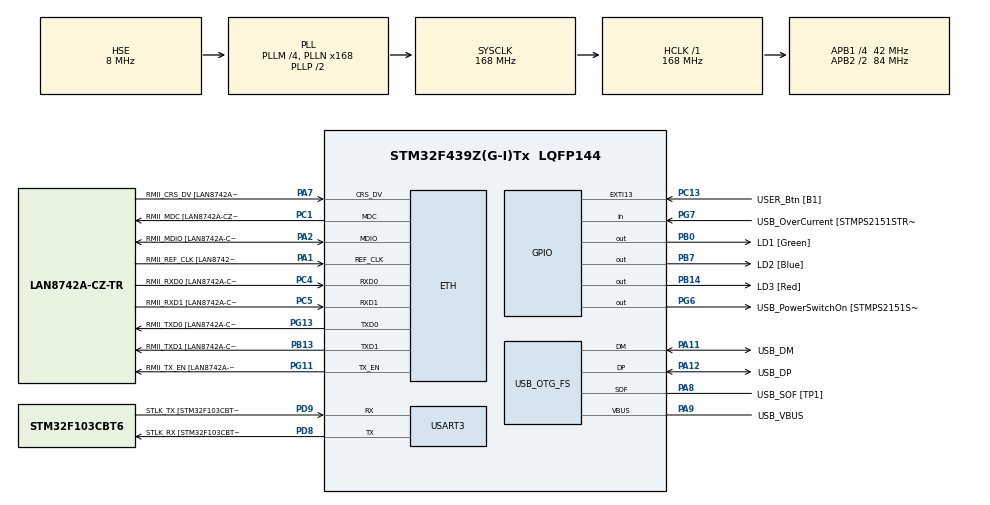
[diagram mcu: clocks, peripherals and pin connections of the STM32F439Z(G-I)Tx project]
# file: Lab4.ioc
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ETH.MediaInterface=HAL_ETH_RMII_MODE
ETH.PHY_Name=LAN8742A_PHY_ADDRESS
ETH.PHY_Value=0
ETH.PhyAddress=0
ETH.RxBuffLen=1536
ETH.RxMode=ETH_RXINTERRUPT_MODE
FREERTOS.Tasks01=defaultTask,24,512,StartDefaultTask,Default,NULL,Dynamic,NULL,NULL
FREERTOS.configGENERATE_RUN_TIME_STATS=1
FREERTOS.configRECORD_STACK_HIGH_ADDRESS=1
FREERTOS.configUSE_NEWLIB_REENTRANT=1
Mcu.Family=STM32F4
Mcu.Name=STM32F439Z(G-I)Tx
Mcu.Package=LQFP144
NVIC.ETH_IRQn=true\:5\:0\:false\:false\:false\:true\:false\:true\:true
NVIC.PriorityGroup=NVIC_PRIORITYGROUP_4
NVIC.TIM6_DAC_IRQn=true\:15\:0\:false\:false\:true\:false\:false\:true\:true
NVIC.TimeBase=TIM6_DAC_IRQn
NVIC.TimeBaseIP=TIM6
PA1.GPIO_Label=RMII_REF_CLK [LAN8742A-CZ-TR_REFCLK0]
PA1.Mode=RMII
PA1.Signal=ETH_REF_CLK
PA10.GPIO_Label=USB_ID
PA10.Signal=USB_OTG_FS_ID
PA11.GPIO_Label=USB_DM
PA11.Mode=Device_Only
PA11.Signal=USB_OTG_FS_DM
PA12.GPIO_Label=USB_DP
PA12.Mode=Device_Only
PA12.Signal=USB_OTG_FS_DP
PA13.GPIO_Label=TMS
PA13.Mode=Serial_Wire
PA13.Signal=SYS_JTMS-SWDIO
PA14.GPIO_Label=TCK
PA14.Mode=Serial_Wire
PA14.Signal=SYS_JTCK-SWCLK
PA2.GPIO_Label=RMII_MDIO [LAN8742A-CZ-TR_MDIO]
PA2.Mode=RMII
PA2.Signal=ETH_MDIO
PA7.GPIO_Label=RMII_CRS_DV [LAN8742A-CZ-TR_CRS_DV]
PA7.Mode=RMII
PA7.Signal=ETH_CRS_DV
PA8.GPIO_Label=USB_SOF [TP1]
PA8.Mode=Activate_SOF_FS
PA8.Signal=USB_OTG_FS_SOF
PA9.GPIO_Label=USB_VBUS
PA9.Mode=Activate_VBUS
PA9.Signal=USB_OTG_FS_VBUS
PB0.GPIO_Label=LD1 [Green]
PB0.Signal=GPIO_Output
PB13.GPIO_Label=RMII_TXD1 [LAN8742A-CZ-TR_TXD1]
PB13.Mode=RMII
PB13.Signal=ETH_TXD1
PB14.GPIO_Label=LD3 [Red]
PB14.Signal=GPIO_Output
PB7.GPIO_Label=LD2 [Blue]
PB7.Signal=GPIO_Output
PC1.GPIO_Label=RMII_MDC [LAN8742A-CZ-TR_MDC]
PC1.Mode=RMII
PC1.Signal=ETH_MDC
PC13.GPIO_Label=USER_Btn [B1]
PC13.Signal=GPXTI13
PC14/OSC32_IN.Mode=LSE-External-Oscillator
PC14/OSC32_IN.Signal=RCC_OSC32_IN
PC15/OSC32_OUT.Mode=LSE-External-Oscillator
PC15/OSC32_OUT.Signal=RCC_OSC32_OUT
PC4.GPIO_Label=RMII_RXD0 [LAN8742A-CZ-TR_RXD0]
PC4.Mode=RMII
PC4.Signal=ETH_RXD0
PC5.GPIO_Label=RMII_RXD1 [LAN8742A-CZ-TR_RXD1]
PC5.Mode=RMII
PC5.Signal=ETH_RXD1
PD8.GPIO_Label=STLK_RX [STM32F103CBT6_PA3]
PD8.Mode=Asynchronous
PD8.Signal=USART3_TX
PD9.GPIO_Label=STLK_TX [STM32F103CBT6_PA2]
PD9.Mode=Asynchronous
PD9.Signal=USART3_RX
PG11.GPIO_Label=RMII_TX_EN [LAN8742A-CZ-TR_TXEN]
PG11.Mode=RMII
PG11.Signal=ETH_TX_EN
PG13.GPIO_Label=RMII_TXD0 [LAN8742A-CZ-TR_TXD0]
PG13.Mode=RMII
PG13.Signal=ETH_TXD0
PG6.GPIO_Label=USB_PowerSwitchOn [STMPS2151STR_EN]
PG6.Signal=GPIO_Output
PG7.GPIO_Label=USB_OverCurrent [STMPS2151STR_FAULT]
PG7.Signal=GPIO_Input
PH0/OSC_IN.GPIO_Label=MCO [STM32F103CBT6_PA8]
PH0/OSC_IN.Mode=HSE-External-Clock-Source
PH0/OSC_IN.Signal=RCC_OSC_IN
PH1/OSC_OUT.Mode=HSE-External-Clock-Source
PH1/OSC_OUT.Signal=RCC_OSC_OUT
ProjectManager.HeapSize=0x200
ProjectManager.StackSize=0x400
ProjectManager.TargetToolchain=STM32CubeIDE
RCC.48MHZClocksFreq_Value=48000000
RCC.AHBFreq_Value=168000000
RCC.APB1CLKDivider=RCC_HCLK_DIV4
RCC.APB1Freq_Value=42000000
RCC.APB1TimFreq_Value=84000000
RCC.APB2CLKDivider=RCC_HCLK_DIV2
RCC.APB2Freq_Value=84000000
RCC.APB2TimCLKDivider=2
RCC.APB2TimFreq_Value=168000000
RCC.CortexFreq_Value=168000000
RCC.HCLKFreq_Value=168000000
RCC.HSE_VALUE=8000000
RCC.HSI_VALUE=16000000
RCC.PLLM=4
RCC.PLLMUL=RCC_PLL_MUL9
RCC.PLLN=168
RCC.PLLQ=7
RCC.PRESCALERUSB=RCC_USBCLKSOURCE_PLL_DIV1_5
RCC.SYSCLKFreq_VALUE=168000000
RCC.SYSCLKSource=RCC_SYSCLKSOURCE_PLLCLK
RCC.SYSCLKSourceVirtual=RCC_SYSCLKSOURCE_PLLCLK
RCC.USBFreq_Value=48000000
RCC.VCOOutputFreq_Value=336000000
USART3.VirtualMode=VM_ASYNC
USB_OTG_FS.VirtualMode=Device_Only
VP_FREERTOS_VS_CMSIS_V2.Mode=CMSIS_V2
VP_SYS_VS_tim6.Mode=TIM6
board=NUCLEO-F439ZI

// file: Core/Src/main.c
/* USER CODE BEGIN Header */
/**
  ******************************************************************************
  * @file           : main.c
  * @brief          : Main program body
  ******************************************************************************
  * @attention
  *
  * Copyright (c) 2025 STMicroelectronics.
  * All rights reserved.
  *
  * This software is licensed under terms that can be found in the LICENSE file
  * in the root directory of this software component.
  * If no LICENSE file comes with this software, it is provided AS-IS.
  *
  ******************************************************************************
  */
/* USER CODE END Header */
#include "main.h"
#include "string.h"
#include "mongoose.h"
#include "cmsis_os.h"

ETH_TxPacketConfig TxConfig;
ETH_DMADescTypeDef  DMARxDscrTab[ETH_RX_DESC_CNT]; /* Ethernet Rx DMA Descriptors */
ETH_DMADescTypeDef  DMATxDscrTab[ETH_TX_DESC_CNT]; /* Ethernet Tx DMA Descriptors */

ETH_HandleTypeDef heth;

UART_HandleTypeDef huart3;

PCD_HandleTypeDef hpcd_USB_OTG_FS;

/* Definitions for defaultTask */
osThreadId_t defaultTaskHandle;
const osThreadAttr_t defaultTask_attributes = {
  .name = "defaultTask",
  .stack_size = 512 * 4,
  .priority = (osPriority_t) osPriorityNormal,
};

void SystemClock_Config(void);
static void MX_GPIO_Init(void);
static void MX_ETH_Init(void);
static void MX_USART3_UART_Init(void);
static void MX_USB_OTG_FS_PCD_Init(void);
void StartDefaultTask(void *argument);

int main(void)
{

  /* MCU Configuration--------------------------------------------------------*/

  /* Reset of all peripherals, Initializes the Flash interface and the Systick. */
  HAL_Init();

  /* Configure the system clock */
  SystemClock_Config();

  /* Initialize all configured peripherals */
  MX_GPIO_Init();
  MX_ETH_Init();
  MX_USART3_UART_Init();
  MX_USB_OTG_FS_PCD_Init();

  /* Init scheduler */
  osKernelInitialize();

  /* Create the thread(s) */
  /* creation of defaultTask */
  defaultTaskHandle = osThreadNew(StartDefaultTask, NULL, &defaultTask_attributes);

  /* Start scheduler */
  osKernelStart();

  /* We should never get here as control is now taken by the scheduler */

  /* Infinite loop */
  while (1)
  {

  }
}

void SystemClock_Config(void)
{
  RCC_OscInitTypeDef RCC_OscInitStruct = {0};
  RCC_ClkInitTypeDef RCC_ClkInitStruct = {0};

  /** Configure the main internal regulator output voltage
  */
  __HAL_RCC_PWR_CLK_ENABLE();
  __HAL_PWR_VOLTAGESCALING_CONFIG(PWR_REGULATOR_VOLTAGE_SCALE1);

  /** Initializes the RCC Oscillators according to the specified parameters
  * in the RCC_OscInitTypeDef structure.
  */
  RCC_OscInitStruct.OscillatorType = RCC_OSCILLATORTYPE_HSE;
  RCC_OscInitStruct.HSEState = RCC_HSE_BYPASS;
  RCC_OscInitStruct.PLL.PLLState = RCC_PLL_ON;
  RCC_OscInitStruct.PLL.PLLSource = RCC_PLLSOURCE_HSE;
  RCC_OscInitStruct.PLL.PLLM = 4;
  RCC_OscInitStruct.PLL.PLLN = 168;
  RCC_OscInitStruct.PLL.PLLP = RCC_PLLP_DIV2;
  RCC_OscInitStruct.PLL.PLLQ = 7;
  if (HAL_RCC_OscConfig(&RCC_OscInitStruct) != HAL_OK)
  {
    Error_Handler();
  }

  /** Initializes the CPU, AHB and APB buses clocks
  */
  RCC_ClkInitStruct.ClockType = RCC_CLOCKTYPE_HCLK|RCC_CLOCKTYPE_SYSCLK
                              |RCC_CLOCKTYPE_PCLK1|RCC_CLOCKTYPE_PCLK2;
  RCC_ClkInitStruct.SYSCLKSource = RCC_SYSCLKSOURCE_PLLCLK;
  RCC_ClkInitStruct.AHBCLKDivider = RCC_SYSCLK_DIV1;
  RCC_ClkInitStruct.APB1CLKDivider = RCC_HCLK_DIV4;
  RCC_ClkInitStruct.APB2CLKDivider = RCC_HCLK_DIV2;

  if (HAL_RCC_ClockConfig(&RCC_ClkInitStruct, FLASH_LATENCY_5) != HAL_OK)
  {
    Error_Handler();
  }
}

static void MX_ETH_Init(void)
{

   static uint8_t MACAddr[6];

  heth.Instance = ETH;
  MACAddr[0] = 0x00;
  MACAddr[1] = 0x80;
  MACAddr[2] = 0xE1;
  MACAddr[3] = 0x00;
  MACAddr[4] = 0x00;
  MACAddr[5] = 0x00;
  heth.Init.MACAddr = &MACAddr[0];
  heth.Init.MediaInterface = HAL_ETH_RMII_MODE;
  heth.Init.TxDesc = DMATxDscrTab;
  heth.Init.RxDesc = DMARxDscrTab;
  heth.Init.RxBuffLen = 1536;

  if (HAL_ETH_Init(&heth) != HAL_OK)
  {
    Error_Handler();
  }

  memset(&TxConfig, 0 , sizeof(ETH_TxPacketConfig));
  TxConfig.Attributes = ETH_TX_PACKETS_FEATURES_CSUM | ETH_TX_PACKETS_FEATURES_CRCPAD;
  TxConfig.ChecksumCtrl = ETH_CHECKSUM_IPHDR_PAYLOAD_INSERT_PHDR_CALC;
  TxConfig.CRCPadCtrl = ETH_CRC_PAD_INSERT;

}

static void MX_USART3_UART_Init(void)
{

  huart3.Instance = USART3;
  huart3.Init.BaudRate = 115200;
  huart3.Init.WordLength = UART_WORDLENGTH_8B;
  huart3.Init.StopBits = UART_STOPBITS_1;
  huart3.Init.Parity = UART_PARITY_NONE;
  huart3.Init.Mode = UART_MODE_TX_RX;
  huart3.Init.HwFlowCtl = UART_HWCONTROL_NONE;
  huart3.Init.OverSampling = UART_OVERSAMPLING_16;
  if (HAL_UART_Init(&huart3) != HAL_OK)
  {
    Error_Handler();
  }

}

static void MX_USB_OTG_FS_PCD_Init(void)
{

  hpcd_USB_OTG_FS.Instance = USB_OTG_FS;
  hpcd_USB_OTG_FS.Init.dev_endpoints = 4;
  hpcd_USB_OTG_FS.Init.speed = PCD_SPEED_FULL;
  hpcd_USB_OTG_FS.Init.dma_enable = DISABLE;
  hpcd_USB_OTG_FS.Init.phy_itface = PCD_PHY_EMBEDDED;
  hpcd_USB_OTG_FS.Init.Sof_enable = ENABLE;
  hpcd_USB_OTG_FS.Init.low_power_enable = DISABLE;
  hpcd_USB_OTG_FS.Init.lpm_enable = DISABLE;
  hpcd_USB_OTG_FS.Init.vbus_sensing_enable = ENABLE;
  hpcd_USB_OTG_FS.Init.use_dedicated_ep1 = DISABLE;
  if (HAL_PCD_Init(&hpcd_USB_OTG_FS) != HAL_OK)
  {
    Error_Handler();
  }

}

static void MX_GPIO_Init(void)
{
  GPIO_InitTypeDef GPIO_InitStruct = {0};

  /* GPIO Ports Clock Enable */
  __HAL_RCC_GPIOC_CLK_ENABLE();
  __HAL_RCC_GPIOH_CLK_ENABLE();
  __HAL_RCC_GPIOA_CLK_ENABLE();
  __HAL_RCC_GPIOB_CLK_ENABLE();
  __HAL_RCC_GPIOD_CLK_ENABLE();
  __HAL_RCC_GPIOG_CLK_ENABLE();

  /*Configure GPIO pin Output Level */
  HAL_GPIO_WritePin(GPIOB, LD1_Pin|LD3_Pin|LD2_Pin, GPIO_PIN_RESET);

  /*Configure GPIO pin Output Level */
  HAL_GPIO_WritePin(USB_PowerSwitchOn_GPIO_Port, USB_PowerSwitchOn_Pin, GPIO_PIN_RESET);

  /*Configure GPIO pin : USER_Btn_Pin */
  GPIO_InitStruct.Pin = USER_Btn_Pin;
  GPIO_InitStruct.Mode = GPIO_MODE_IT_RISING;
  GPIO_InitStruct.Pull = GPIO_NOPULL;
  HAL_GPIO_Init(USER_Btn_GPIO_Port, &GPIO_InitStruct);

  /*Configure GPIO pins : LD1_Pin LD3_Pin LD2_Pin */
  GPIO_InitStruct.Pin = LD1_Pin|LD3_Pin|LD2_Pin;
  GPIO_InitStruct.Mode = GPIO_MODE_OUTPUT_PP;
  GPIO_InitStruct.Pull = GPIO_NOPULL;
  GPIO_InitStruct.Speed = GPIO_SPEED_FREQ_LOW;
  HAL_GPIO_Init(GPIOB, &GPIO_InitStruct);

  /*Configure GPIO pin : USB_PowerSwitchOn_Pin */
  GPIO_InitStruct.Pin = USB_PowerSwitchOn_Pin;
  GPIO_InitStruct.Mode = GPIO_MODE_OUTPUT_PP;
  GPIO_InitStruct.Pull = GPIO_NOPULL;
  GPIO_InitStruct.Speed = GPIO_SPEED_FREQ_LOW;
  HAL_GPIO_Init(USB_PowerSwitchOn_GPIO_Port, &GPIO_InitStruct);

  /*Configure GPIO pin : USB_OverCurrent_Pin */
  GPIO_InitStruct.Pin = USB_OverCurrent_Pin;
  GPIO_InitStruct.Mode = GPIO_MODE_INPUT;
  GPIO_InitStruct.Pull = GPIO_NOPULL;
  HAL_GPIO_Init(USB_OverCurrent_GPIO_Port, &GPIO_InitStruct);

}

/* USER CODE BEGIN 4 */
static void log_fn(char ch, void *param) {
  HAL_UART_Transmit(&huart3, (uint8_t *)&ch, 1, HAL_MAX_DELAY);
}

//activity 3's fn()
static void fn(struct mg_connection *c, int ev, void *ev_data) {
  if (ev == MG_EV_HTTP_MSG) {
    struct mg_http_message *hm = (struct mg_http_message *) ev_data;
    if (mg_match(hm->uri, mg_str("/api/sum"), NULL)) {
      double num1, num2;
      if (mg_json_get_num(hm->body, "$[0]", &num1) &&
          mg_json_get_num(hm->body, "$[1]", &num2)) {
        mg_http_reply(c, 200, "Content-Type: application/json\r\n",
                      "{%m:%g}\n", mg_print_esc, 0, "result", num1 + num2);
      } else {
        mg_http_reply(c, 500, NULL, "Parameters missing\n");
      }

    } else if (mg_match(hm->uri, mg_str("/toggle/green"), NULL)) {
      HAL_GPIO_TogglePin(GPIOB, GPIO_PIN_0);  // Adjust pin as needed
      mg_http_reply(c, 200, "", "Cari Blaker's board green LED works!\n");

    } else if (mg_match(hm->uri, mg_str("/toggle/red"), NULL)) {
      HAL_GPIO_TogglePin(GPIOB, GPIO_PIN_14);  // Adjust pin as needed
      mg_http_reply(c, 200, "", "Cari Blaker's board red LED works!\n");

    } else if (mg_match(hm->uri, mg_str("/toggle/blue"), NULL)) {
      HAL_GPIO_TogglePin(GPIOB, GPIO_PIN_7);  // Adjust pin as needed
      mg_http_reply(c, 200, "", "Cari Blaker's board blue LED works!\n");

    } else {
    	mg_http_reply(c, 200, "Content-Type: text/plain\r\n",
    		                    "Howdy from Cari Blaker!\nStudent ID: 918291576\n");
    }
  }
}

/* USER CODE END 4 */

void StartDefaultTask(void *argument)
{
  /* USER CODE BEGIN 5 */
  // Mongoose manager
  struct mg_mgr mgr;

  mg_log_set(MG_LL_INFO);           // Log level
  mg_log_set_fn(log_fn, NULL);      // Log output to UART
  mg_mgr_init(&mgr);                // Init manager

  // Listen on port 8000
  mg_http_listen(&mgr, "http://192.168.0.29:8000", fn, NULL);
  /* Infinite loop */
  for(;;)
  {
	  mg_mgr_poll(&mgr, 100);
	  osDelay(1);
  }
  mg_mgr_free(&mgr);
  /* USER CODE END 5 */
}

void HAL_TIM_PeriodElapsedCallback(TIM_HandleTypeDef *htim)
{
  if (htim->Instance == TIM6)
  {
    HAL_IncTick();
  }
}

void Error_Handler(void)
{
  __disable_irq();
  while (1)
  {
  }
}
